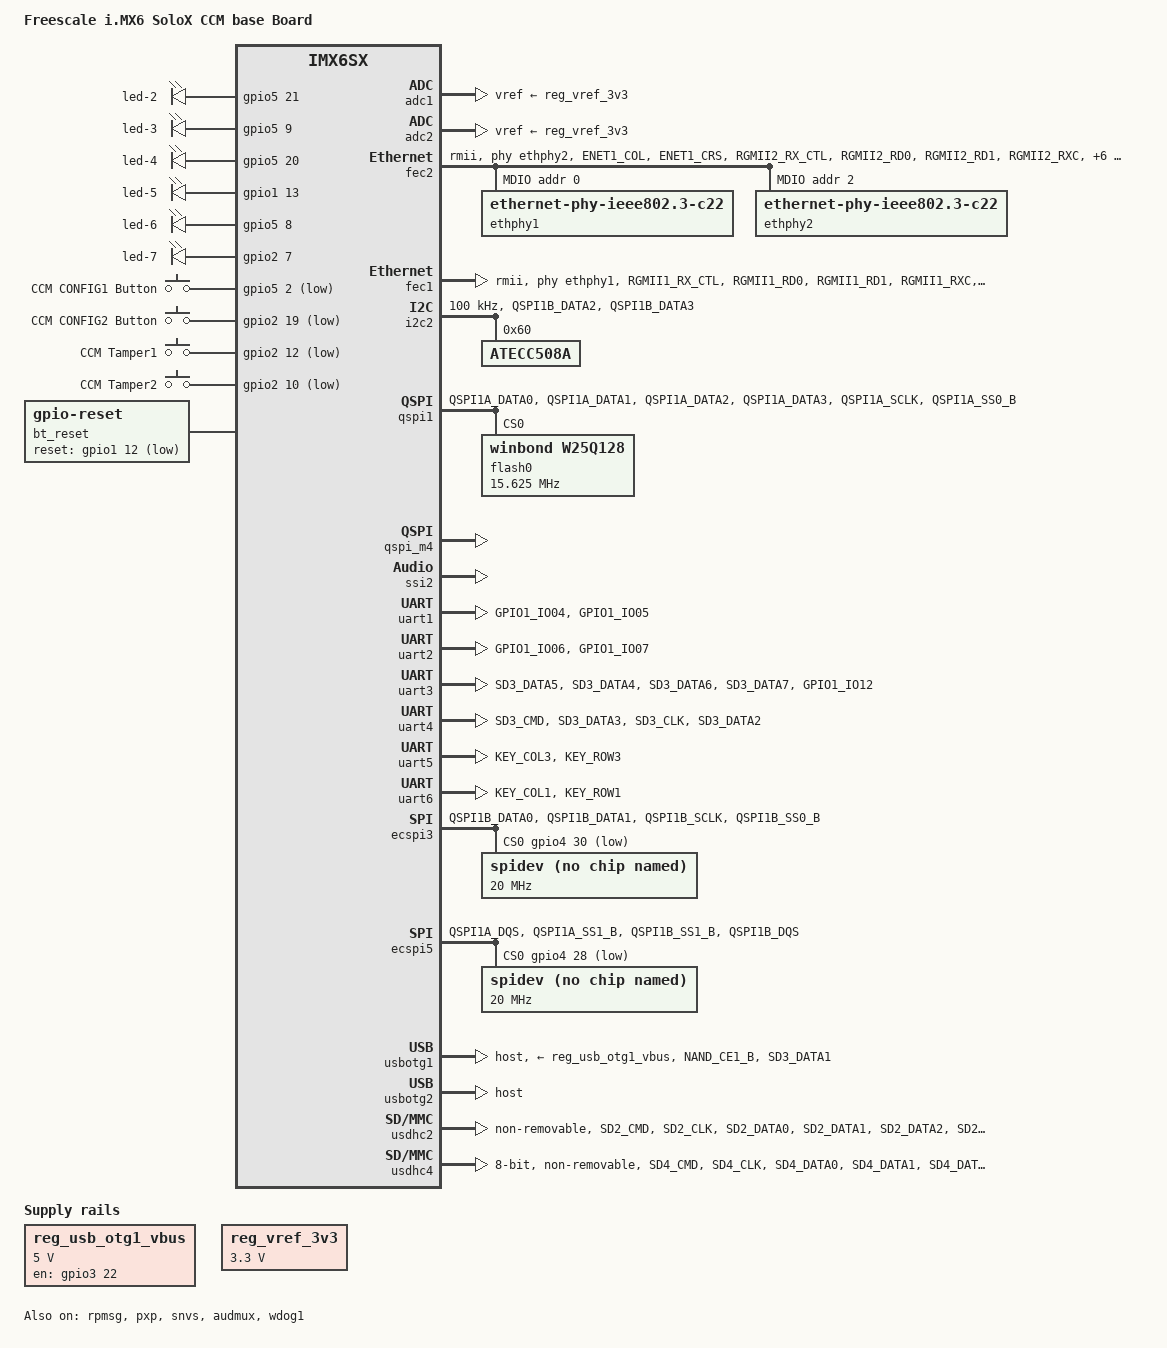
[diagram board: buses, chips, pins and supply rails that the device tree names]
/*Copyright (C) 2014 Freescale Semiconductor, Inc.
 *
 * This program is free software; you can redistribute it and/or modify
 * it under the terms of the GNU General Public License version 2 as
 * published by the Free Software Foundation.
 */

/* This is reference from imx6sx-sg-better_emmc.dts */

/dts-v1/;

#include <dt-bindings/gpio/gpio.h>
#include <dt-bindings/input/input.h>
#include "imx6sx.dtsi"

/ {
	model = "Freescale i.MX6 SoloX CCM base Board";
	compatible = "f1-mezz1", "fsl,imx6sx-sg", "fsl,imx6sx";

	aliases {
		mmc1 = &usdhc2;
		mmc3 = &usdhc4;
        };

	chosen {
		stdout-path = &uart1;
	};

	memory {
		linux,usable-memory = <0x80000000 0x1FF00000>;
	};

	leds {
		compatible = "gpio-leds";
		pinctrl-names = "default";
		pinctrl-0 = <&pinctrl_gpio_leds>;

		led-2 {	//trouble
			gpios = <&gpio5 21 GPIO_ACTIVE_HIGH>;
		};

		led-3 {	//panel
			gpios = <&gpio5 9 GPIO_ACTIVE_HIGH>;
		};

		led-4 {	//cloud
			gpios = <&gpio5 20 GPIO_ACTIVE_HIGH>;
		};

		led-5 {	//wifi
			gpios = <&gpio1 13 GPIO_ACTIVE_HIGH>;
		};

		led-6 {	//bluetooth
			gpios = <&gpio5 8 GPIO_ACTIVE_HIGH>;
		};

		led-7 {	//lte
			gpios = <&gpio2 7 GPIO_ACTIVE_HIGH>;
		};
	};

	gpio-keys {
		compatible = "gpio-keys";
		pinctrl-names = "default";
		pinctrl-0 = <&pinctrl_gpio_keys>;

		config1 {
			label = "CCM CONFIG1 Button";
			gpios = <&gpio5 2 GPIO_ACTIVE_LOW>;
			linux,code = <BTN_0>;
		};

		config2 {
			label = "CCM CONFIG2 Button";
			gpios = <&gpio2 19 GPIO_ACTIVE_LOW>;
			linux,code = <BTN_1>;
		};

		tamper1 {
			label = "CCM Tamper1";
			gpios = <&gpio2 12 GPIO_ACTIVE_LOW>;
			linux,code = <BTN_2>;
		};

		tamper2 {
			label = "CCM Tamper2";
			gpios = <&gpio2 10 GPIO_ACTIVE_LOW>;
			linux,code = <BTN_3>;
		};
	};

	pxp_v4l2_out {
		compatible = "fsl,imx6sx-pxp-v4l2", "fsl,imx6sl-pxp-v4l2";
		status = "okay";
	};

	regulators {
		compatible = "simple-bus";
		#address-cells = <1>;
		#size-cells = <0>;

		bt_reset: bt-reset {
			compatible = "gpio-reset";
			reset-gpios = <&gpio1 12 GPIO_ACTIVE_LOW>;
			reset-delay-us = <1000>;
			#reset-cells = <0>;
		};

		reg_usb_otg1_vbus: usb_otg1_vbus {
			compatible = "regulator-fixed";
			reg = <1>;
			pinctrl-names = "default";
			pinctrl-0 = <&pinctrl_usb_otg1_vbus>;
			regulator-name = "usb_otg1_vbus";
			regulator-min-microvolt = <5000000>;
			regulator-max-microvolt = <5000000>;
			gpio = <&gpio3 22 GPIO_ACTIVE_HIGH>;
			enable-active-high;
		};

		reg_vref_3v3: regulator@7 {
			compatible = "regulator-fixed";
			reg = <7>;
			regulator-name = "vref-3v3";
			regulator-min-microvolt = <3300000>;
			regulator-max-microvolt = <3300000>;
		};

	};
};

&adc1 {
	vref-supply = <&reg_vref_3v3>;
	status = "okay";
};

&adc2 {
	vref-supply = <&reg_vref_3v3>;
	status = "okay";
};

//Port J3: Ethernet B
&fec2 {
	pinctrl-names = "default";
	pinctrl-0 = <&pinctrl_enet2_1>;
	phy-mode = "rmii";
	phy-handle = <&ethphy2>;
	phy-reset-gpios = <&gpio2 2 0>;
	phy-reset-duration =<20>;
   	local-mac-address = [00 04 9F 01 1B 68];
	status = "okay";

	mdio {
		#address-cells = <1>;
		#size-cells = <0>;

		ethphy1: ethernet-phy@0 {
			compatible = "ethernet-phy-ieee802.3-c22";
			reg = <0>;
			micrel,led-mode = <0>;
		};

		ethphy2: ethernet-phy@2 {
			compatible = "ethernet-phy-ieee802.3-c22";
			reg = <2>;
			micrel,led-mode = <0>;
		};
	};
};

//Port J4: Ethernet A
&fec1 {
	pinctrl-names = "default";
	pinctrl-0 = <&pinctrl_enet1_1>;
	phy-mode = "rmii";
	phy-handle = <&ethphy1>;
	phy-reset-gpios = <&gpio2 4 0>;
	phy-reset-duration =<20>;
   	local-mac-address = [00 04 9F 01 1B 58];
	status = "okay";
};

&i2c2 {
	clock-frequency = <100000>;
        pinctrl-names = "default";
        pinctrl-0 = <&pinctrl_i2c2>;
	status = "okay";

	ATECC508A: ATECC508A@60 {
		compatible = "ATECC508A";
		reg = <0x60>;
	};

/*
	MFI337S3959: MFI337S3959@11 {
		compatible = "MFI337S3959";
		reg = <0x11>;
	};
*/
};

&ocram {
	reg = <0x00901000 0xf000>;
};

&qspi1 {
	pinctrl-names = "default";
	pinctrl-0 = <&pinctrl_qspi1>;
	status = "okay";
	ddrsmp=<0>;	//or 2

	flash0: w25q128@0 {
		#address-cells = <1>;
		#size-cells = <1>;
		compatible = "winbond,w25q128";
		spi-max-frequency = <15625000>;
		reg = <0>;

/* partition example
		partition@00000 {
			label = "BootLoader";
			reg = <0x60000 0x80000>;
			read-only;
		};

		partition@e0000 {
			label = "Recovery-Kernel";
			reg = <0xe0000 0x300000>;
			read-only;
		};
*/
	};
};
&qspi2 {
	status = "disabled";
};

&qspi_m4 {
	status = "okay";
};

&rpmsg{
	vdev-nums = <1>;
	reg = <0x9FFF0000 0x10000>;
	status = "okay";
};

&clks {
	fsl,shared-clks-number = <0x23>;//<0x1A>;
	fsl,shared-clks-index = <IMX6SX_CLK_PLL2_BUS IMX6SX_CLK_PLL2_PFD0
			IMX6SX_CLK_PLL2_PFD2 IMX6SX_CLK_PLL3_USB_OTG
			IMX6SX_CLK_PLL3_PFD1 IMX6SX_CLK_PLL3_PFD2
			IMX6SX_CLK_PLL3_PFD3 IMX6SX_CLK_PLL4_AUDIO
			IMX6SX_CLK_PLL5_VIDEO
			IMX6SX_CLK_OCRAM IMX6SX_CLK_CAN1_SERIAL
			IMX6SX_CLK_CAN1_IPG IMX6SX_CLK_CAN2_SERIAL
			IMX6SX_CLK_CAN2_IPG IMX6SX_CLK_CANFD
			IMX6SX_CLK_ECSPI1 IMX6SX_CLK_ECSPI2
			IMX6SX_CLK_ECSPI3 IMX6SX_CLK_ECSPI4
			IMX6SX_CLK_ECSPI5 IMX6SX_CLK_QSPI1
			IMX6SX_CLK_QSPI2 IMX6SX_CLK_SSI1
			IMX6SX_CLK_SSI2 IMX6SX_CLK_SSI3
			IMX6SX_CLK_UART_SERIAL IMX6SX_CLK_UART_IPG
			IMX6SX_CLK_PERIPH_CLK2_SEL IMX6SX_CLK_DUMMY
			IMX6SX_CLK_I2C1 IMX6SX_CLK_I2C2
			IMX6SX_CLK_I2C3 IMX6SX_CLK_I2C4
			IMX6SX_CLK_EPIT1 IMX6SX_CLK_EPIT2>;
	fsl,shared-mem-addr = <0x91F000>;
	fsl,shared-mem-size = <0x1000>;
};

&pxp {
    status = "okay";
};

&snvs{
	status = "okay";
};

&ssi2 {
	fsl,mode = "i2s-slave";
	status = "okay";
};

&audmux {
    pinctrl-names = "default";
    pinctrl-0 = <&pinctrl_audmux>;
    status = "okay";
};

//Debug port
&uart1 {
	pinctrl-names = "default";
	pinctrl-0 = <&pinctrl_uart1>;
	status = "okay";
};

//Port P1: RS485 A
&uart2 {
	pinctrl-names = "default";
	pinctrl-0 = <&pinctrl_uart2>;
	status = "okay";
};

//BM28: BT
&uart3 {
	pinctrl-names = "default";
	pinctrl-0 = <&pinctrl_uart3
			&pinctrl_bt>;
	fsl,uart-has-rtscts;
	resets = <&bt_reset>;
	status = "okay";
};

//Port P3: LTE EXPANSION
&uart4 {
        pinctrl-names = "default";
        pinctrl-0 = <&pinctrl_uart4>;
	fsl,uart-has-rtscts;
        status = "okay";
};

//Port P5: RS485 B
&uart5 {
	pinctrl-names = "default";
	pinctrl-0 = <&pinctrl_uart5>;
	status = "okay";
};

//Port P4/P7: RS232
&uart6 {
	pinctrl-names = "default";
	pinctrl-0 = <&pinctrl_uart6>;
	status = "okay";
};

//Port J1: TELCO EXPANSION
&ecspi3 {
	fsl,spi-num-chipselects = <1>;
	cs-gpios = <&gpio4 30 GPIO_ACTIVE_LOW>;
	pinctrl-names = "default";
	pinctrl-0 = <&pinctrl_ecspi3>;
	status = "okay";
	spidev@0 {
		compatible = "rohm,dh2228fv";
		spi-max-frequency = <20000000>;
		reg = <0>;
		dmas = <&sdma 3 7 1>, <&sdma 4 7 2>;
		dma-names = "rx", "tx";
	};
};

//Port P3: LTE EXPANSION
&ecspi5 {
	fsl,spi-num-chipselects = <1>;
	cs-gpios = <&gpio4 28 GPIO_ACTIVE_LOW>;
	pinctrl-names = "default";
	pinctrl-0 = <&pinctrl_ecspi5>;
	status = "okay";
	spidev@0 {
		compatible = "rohm,dh2228fv";
		spi-max-frequency = <20000000>;
		reg = <0>;
		dmas = <&sdma 11 7 1>, <&sdma 12 7 2>;
		dma-names = "rx", "tx";
	};
};

//Port J5: USB type-C
&usbotg1 {
	vbus-supply = <&reg_usb_otg1_vbus>;
	pinctrl-names = "default";
	pinctrl-0 = <&pinctrl_usb_otg1_id>;
	//disable-over-current;
	srp-disable;
	hnp-disable;
	adp-disable;
	dr_mode = "host";
	status = "okay";
};

//Port P3: LTE EXPANSION
&usbotg2 {
        pinctrl-names = "default";
        srp-disable;
        hnp-disable;
        adp-disable;
        dr_mode = "host";
        status = "okay";
};

//BM28: Wifi
&usdhc2 {
	pinctrl-names = "default";
	pinctrl-0 = <&pinctrl_wifi>;
	non-removable;
	no-1-8-v;
	keep-power-in-suspend;
	enable-sdio-wakeup;
	status = "okay";
};

//eMMC
&usdhc4 {
	pinctrl-names = "default";
	pinctrl-0 = <&pinctrl_usdhc4_1>;
	bus-width = <8>;
	non-removable;
	no-1-8-v;
	keep-power-in-suspend;
	enable-sdio-wakeup;
	status = "okay";
};

/* Override the watchdog driver type
 */
&wdog1 {
        compatible = "fsl,imx21-wdt";
        status = "okay";
};
&iomuxc {
	pinctrl-names = "default";
	pinctrl-0 = <&pinctrl_hog_1>;
	imx6x-sg {
		pinctrl_hog_1: hoggrp-1 {
			fsl,pins = <
				MX6SX_PAD_USB_H_DATA__GPIO7_IO_10	0x83030
			>;
		};

		pinctrl_enet1_1: enet1grp-1 {
			fsl,pins = <
				MX6SX_PAD_RGMII1_RX_CTL__ENET1_RX_EN   	0xb099
				MX6SX_PAD_RGMII1_RD0__ENET1_RX_DATA_0   0xb099
				MX6SX_PAD_RGMII1_RD1__ENET1_RX_DATA_1   0xb099
				MX6SX_PAD_RGMII1_RXC__ENET1_RX_ER 	0xb099
				MX6SX_PAD_RGMII1_TX_CTL__ENET1_TX_EN	0xb099
				MX6SX_PAD_RGMII1_TD0__ENET1_TX_DATA_0   0xb099
				MX6SX_PAD_RGMII1_TD1__ENET1_TX_DATA_1   0xb099
				MX6SX_PAD_ENET1_RX_CLK__GPIO2_IO_4 	0xb099
				MX6SX_PAD_ENET1_TX_CLK__ENET1_REF_CLK1  0x4000b099
			>;
		};

		pinctrl_enet2_1: enet2grp-1{
			fsl,pins = <
				MX6SX_PAD_ENET1_COL__ENET2_MDC          0xa089
				MX6SX_PAD_ENET1_CRS__ENET2_MDIO         0xa089
				MX6SX_PAD_RGMII2_RX_CTL__ENET2_RX_EN    0xb099
				MX6SX_PAD_RGMII2_RD0__ENET2_RX_DATA_0   0xb099
				MX6SX_PAD_RGMII2_RD1__ENET2_RX_DATA_1   0xb099
                		MX6SX_PAD_RGMII2_RXC__ENET2_RX_ER       0xb099
				MX6SX_PAD_RGMII2_TX_CTL__ENET2_TX_EN    0xb099
				MX6SX_PAD_RGMII2_TD0__ENET2_TX_DATA_0   0xb099
				MX6SX_PAD_RGMII2_TD1__ENET2_TX_DATA_1   0xb099
				MX6SX_PAD_ENET1_MDC__GPIO2_IO_2		0xb099
                		MX6SX_PAD_ENET2_TX_CLK__ENET2_REF_CLK2  0x4000b099
			>;
		};

		pinctrl_i2c2: i2c2grp {
			fsl,pins = <
				MX6SX_PAD_QSPI1B_DATA2__I2C2_SDA	0x4001b8b1
				MX6SX_PAD_QSPI1B_DATA3__I2C2_SCL	0x4001b8b1
			>;
		};

		pinctrl_peri_3v3: peri3v3grp {
			fsl,pins = <
				MX6SX_PAD_QSPI1A_DATA0__GPIO4_IO_16	0x80000000
			>;
		};

		pinctrl_qspi1: qspi1grp {
			fsl,pins = <
				MX6SX_PAD_QSPI1A_DATA0__QSPI1_A_DATA_0  0x70a1
				MX6SX_PAD_QSPI1A_DATA1__QSPI1_A_DATA_1  0x70a1
				MX6SX_PAD_QSPI1A_DATA2__QSPI1_A_DATA_2  0x70a1
				MX6SX_PAD_QSPI1A_DATA3__QSPI1_A_DATA_3  0x70a1
				MX6SX_PAD_QSPI1A_SCLK__QSPI1_A_SCLK     0x70a1
				MX6SX_PAD_QSPI1A_SS0_B__QSPI1_A_SS0_B   0x70a1
			>;
		};

		//Debug port for A9 console
		pinctrl_uart1: uart1grp {
			fsl,pins = <
				MX6SX_PAD_GPIO1_IO04__UART1_TX		0x1b0b1
				MX6SX_PAD_GPIO1_IO05__UART1_RX		0x1b0b1
			>;
		};

		//Port P1: RS485 A
		pinctrl_uart2: uart2grp {
			fsl,pins = <
				MX6SX_PAD_GPIO1_IO06__UART2_TX		0x1b0b1
				MX6SX_PAD_GPIO1_IO07__UART2_RX		0x1b0b1
			>;
		};

		//BM28: BT
		pinctrl_uart3: uart3grp {
			fsl,pins = <
				MX6SX_PAD_SD3_DATA5__UART3_TX		0x1b0b1
				MX6SX_PAD_SD3_DATA4__UART3_RX		0x1b0b1
				MX6SX_PAD_SD3_DATA6__UART3_RTS_B	0x1b0b1
				MX6SX_PAD_SD3_DATA7__UART3_CTS_B	0x1b0b1
			>;
		};

                pinctrl_bt: btgrp {
                        fsl,pins = <
                                MX6SX_PAD_GPIO1_IO12__GPIO1_IO_12        0x13069 /* BT_REG_ON */
                        >;
                };

		//Port P3: LTE EXPANSION
		pinctrl_uart4: uart4grp {
			fsl,pins = <
				MX6SX_PAD_SD3_CMD__UART4_TX		0x1b0b1
				MX6SX_PAD_SD3_DATA3__UART4_RX		0x1b0b1
				MX6SX_PAD_SD3_CLK__UART4_CTS_B          0x1b0b1
				MX6SX_PAD_SD3_DATA2__UART4_RTS_B        0x1b0b1
			>;
		};

		//Port P5: RS485 B
		pinctrl_uart5: uart5grp {
			fsl,pins = <
				MX6SX_PAD_KEY_COL3__UART5_TX		0x1b0b1
				MX6SX_PAD_KEY_ROW3__UART5_RX		0x1b0b1
			>;
		};

		//Port P4/P7: RS232
		pinctrl_uart6: uart6grp {
			fsl,pins = <
				MX6SX_PAD_KEY_COL1__UART6_TX		0x1b0b1
				MX6SX_PAD_KEY_ROW1__UART6_RX		0x1b0b1
			>;
		};

		//Port J1: TELCO EXPANSION
		pinctrl_ecspi3: ecspi3grp {
			fsl,pins = <
				MX6SX_PAD_QSPI1B_DATA0__ECSPI3_MOSI	0x1b0b9		//0x1b089
				MX6SX_PAD_QSPI1B_DATA1__ECSPI3_MISO	0x1b0b9		//0x1b0b9
				MX6SX_PAD_QSPI1B_SCLK__ECSPI3_SCLK	0x1b0b9		//0x1b0b9
				MX6SX_PAD_QSPI1B_SS0_B__GPIO4_IO_30	0x0b0b9		//0x0b089
			>;
		};

		//Port P3: LTE EXPANSION
		pinctrl_ecspi5: ecspi5grp {
			fsl,pins = <
				MX6SX_PAD_QSPI1A_DQS__ECSPI5_MOSI	0x1b0b9     //0x1b089//QSPI1A_DQS
				MX6SX_PAD_QSPI1A_SS1_B__ECSPI5_MISO	0x1b0b9     //QSPI1A_SS1_B
				MX6SX_PAD_QSPI1B_SS1_B__ECSPI5_SCLK	0x1b0b9     //0x1b089//QSPI1B_SS1_B
				MX6SX_PAD_QSPI1B_DQS__GPIO4_IO_28	0x0b0b9	    //0x0b089//QSPI1B_DQS
			>;
		};

		pinctrl_audmux: audmuxgrp {
			fsl,pins = <
				MX6SX_PAD_LCD1_RESET__AUDMUX_AUD3_RXD    0x130b0
				MX6SX_PAD_LCD1_ENABLE__AUDMUX_AUD3_TXC   0x130b0
				MX6SX_PAD_LCD1_HSYNC__AUDMUX_AUD3_TXD    0x120b0
				MX6SX_PAD_LCD1_VSYNC__AUDMUX_AUD3_TXFS   0x130b0
				MX6SX_PAD_ENET1_MDIO__AUDMUX_MCLK        0x130b0
			>;
		};

                pinctrl_usb_otg1_vbus: usbotg1vbusgrp {
                        fsl,pins = <
                                MX6SX_PAD_LCD1_DATA21__GPIO3_IO_22     0x10b0
                        >;
                };

                pinctrl_usb_otg1_id: usbotg1idgrp {
                        fsl,pins = <
                                MX6SX_PAD_NAND_CE1_B__GPIO4_IO_2        0x17059
                                MX6SX_PAD_SD3_DATA1__GPIO7_IO_3         0x17059
                        >;
                };

		pinctrl_wifi: wifigrp {
			fsl,pins = <
				MX6SX_PAD_SD2_CMD__USDHC2_CMD		0x17059
				MX6SX_PAD_SD2_CLK__USDHC2_CLK		0x170f9
				MX6SX_PAD_SD2_DATA0__USDHC2_DATA0	0x17059
				MX6SX_PAD_SD2_DATA1__USDHC2_DATA1	0x17059
				MX6SX_PAD_SD2_DATA2__USDHC2_DATA2	0x17059
				MX6SX_PAD_SD2_DATA3__USDHC2_DATA3	0x17059
				MX6SX_PAD_GPIO1_IO10__GPIO1_IO_10	0x17059	/* REG_ON */
			>;
		};

		pinctrl_usdhc4_1: usdhc4grp-1 {
			fsl,pins = <
				MX6SX_PAD_SD4_CMD__USDHC4_CMD		0x170D1
				MX6SX_PAD_SD4_CLK__USDHC4_CLK		0x100f9
				MX6SX_PAD_SD4_DATA0__USDHC4_DATA0	0x170D1
				MX6SX_PAD_SD4_DATA1__USDHC4_DATA1	0x170D1
				MX6SX_PAD_SD4_DATA2__USDHC4_DATA2	0x170D1
				MX6SX_PAD_SD4_DATA3__USDHC4_DATA3	0x170D1
				MX6SX_PAD_SD4_DATA4__USDHC4_DATA4	0x170D1
				MX6SX_PAD_SD4_DATA5__USDHC4_DATA5	0x170D1
				MX6SX_PAD_SD4_DATA6__USDHC4_DATA6	0x170D1
				MX6SX_PAD_SD4_DATA7__USDHC4_DATA7	0x170D1
				MX6SX_PAD_SD4_RESET_B__USDHC4_RESET_B	0x170D1
			>;
		};

		pinctrl_usdhc4_1_100mhz: usdhc4grp-1-100mhz {
			fsl,pins = <
				MX6SX_PAD_SD4_CMD__USDHC4_CMD		0x170b9
				MX6SX_PAD_SD4_CLK__USDHC4_CLK		0x100b9
				MX6SX_PAD_SD4_DATA0__USDHC4_DATA0	0x170b9
				MX6SX_PAD_SD4_DATA1__USDHC4_DATA1	0x170b9
				MX6SX_PAD_SD4_DATA2__USDHC4_DATA2	0x170b9
				MX6SX_PAD_SD4_DATA3__USDHC4_DATA3	0x170b9
				MX6SX_PAD_SD4_DATA4__USDHC4_DATA4	0x170b9
				MX6SX_PAD_SD4_DATA5__USDHC4_DATA5	0x170b9
				MX6SX_PAD_SD4_DATA6__USDHC4_DATA6	0x170b9
				MX6SX_PAD_SD4_DATA7__USDHC4_DATA7	0x170b9
			>;
		};

		pinctrl_usdhc4_1_200mhz: usdhc4grp-1-200mhz {
			fsl,pins = <
				MX6SX_PAD_SD4_CMD__USDHC4_CMD		0x170f9
				MX6SX_PAD_SD4_CLK__USDHC4_CLK		0x100f9
				MX6SX_PAD_SD4_DATA0__USDHC4_DATA0	0x170f9
				MX6SX_PAD_SD4_DATA1__USDHC4_DATA1	0x170f9
				MX6SX_PAD_SD4_DATA2__USDHC4_DATA2	0x170f9
				MX6SX_PAD_SD4_DATA3__USDHC4_DATA3	0x170f9
				MX6SX_PAD_SD4_DATA4__USDHC4_DATA4	0x170f9
				MX6SX_PAD_SD4_DATA5__USDHC4_DATA5	0x170f9
				MX6SX_PAD_SD4_DATA6__USDHC4_DATA6	0x170f9
				MX6SX_PAD_SD4_DATA7__USDHC4_DATA7	0x170f9
			>;
		};

		pinctrl_gpio_keys: gpio_keysgrp {
			fsl,pins = <
				MX6SX_PAD_KEY_ROW4__GPIO2_IO_19		0x1b0b0
				MX6SX_PAD_RGMII1_RD2__GPIO5_IO_2	0x1b0b0
				MX6SX_PAD_KEY_COL2__GPIO2_IO_12		0x1b0b0
				MX6SX_PAD_KEY_COL0__GPIO2_IO_10		0x1b0b0
			>;
		};

		pinctrl_gpio_leds: gpioledsgrp {
			fsl,pins = <
				MX6SX_PAD_ENET2_CRS__GPIO2_IO_7		0x1b0b0
				MX6SX_PAD_GPIO1_IO03__GPIO1_IO_3	0x1b0b0
				MX6SX_PAD_RGMII1_TD2__GPIO5_IO_8	0x1b0b0
				MX6SX_PAD_RGMII1_TD3__GPIO5_IO_9	0x1b0b0
				MX6SX_PAD_RGMII2_TD2__GPIO5_IO_20	0x1b0b0
				MX6SX_PAD_RGMII2_TD3__GPIO5_IO_21	0x1b0b0
			>;
		};

	};
};
